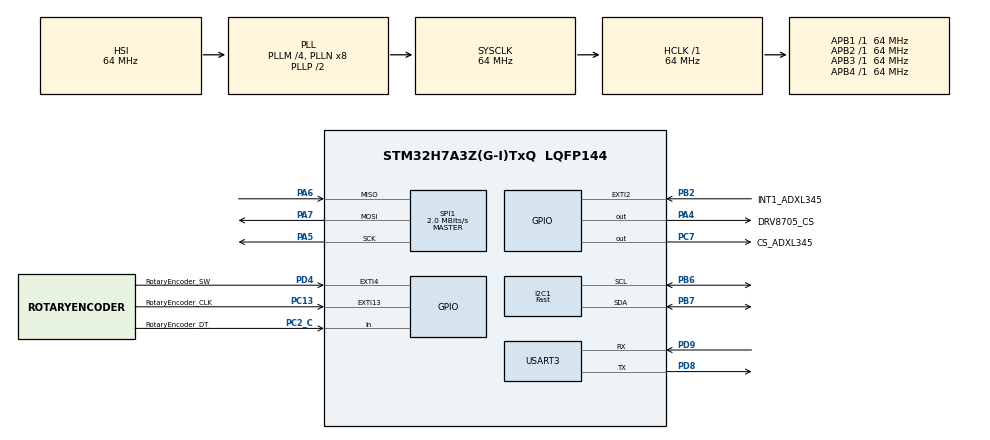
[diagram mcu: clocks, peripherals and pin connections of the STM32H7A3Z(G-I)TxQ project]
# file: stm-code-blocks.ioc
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CORTEX_M7.default_mode_Activation=1
I2C1.I2C_Speed_Mode=I2C_Fast
I2C1.OwnAddress=0x20
I2C1.Timing=0x00602173
Mcu.Family=STM32H7
Mcu.Name=STM32H7A3Z(G-I)TxQ
Mcu.Package=LQFP144
NVIC.EXTI15_10_IRQn=true\:0\:0\:false\:false\:true\:true\:true\:true
NVIC.EXTI4_IRQn=true\:0\:0\:false\:false\:true\:true\:true\:true
NVIC.PriorityGroup=NVIC_PRIORITYGROUP_4
NVIC.USART3_IRQn=true\:0\:0\:false\:false\:true\:true\:true\:true
PA4.GPIO_Label=DRV8705_CS
PA4.Signal=GPIO_Output
PA5.Mode=Full_Duplex_Master
PA5.Signal=SPI1_SCK
PA6.Mode=Full_Duplex_Master
PA6.Signal=SPI1_MISO
PA7.Mode=Full_Duplex_Master
PA7.Signal=SPI1_MOSI
PB2.GPIO_Label=INT1_ADXL345
PB2.Signal=GPXTI2
PB6.Mode=I2C
PB6.Signal=I2C1_SCL
PB7.Mode=I2C
PB7.Signal=I2C1_SDA
PC13.GPIO_Label=RotaryEncoder_CLK
PC13.GPIO_ModeDefaultEXTI=GPIO_MODE_IT_FALLING
PC13.GPIO_PuPd=GPIO_NOPULL
PC13.Signal=GPXTI13
PC2_C.GPIO_Label=RotaryEncoder_DT
PC2_C.Signal=GPIO_Input
PC7.GPIO_Label=CS_ADXL345
PC7.Signal=GPIO_Output
PD4.GPIO_Label=RotaryEncoder_SW
PD4.GPIO_ModeDefaultEXTI=GPIO_MODE_IT_FALLING
PD4.GPIO_PuPd=GPIO_PULLUP
PD4.Signal=GPXTI4
PD8.Mode=Asynchronous
PD8.Signal=USART3_TX
PD9.Mode=Asynchronous
PD9.Signal=USART3_RX
ProjectManager.HeapSize=0x200
ProjectManager.StackSize=0x400
ProjectManager.TargetToolchain=STM32CubeIDE
RCC.ADCFreq_Value=129000000
RCC.APB1Freq_Value=64000000
RCC.APB2Freq_Value=64000000
RCC.APB3Freq_Value=64000000
RCC.APB4Freq_Value=64000000
RCC.CortexFreq_Value=64000000
RCC.DIVM1=4
RCC.DIVM3=1
RCC.DIVN1=8
RCC.DIVN3=24
RCC.DIVQ1=32
RCC.HCLKFreq_Value=64000000
RCC.HSE_VALUE=8000000
RCC.PLLFRACN=0
RCC.PWR_Regulator_Voltage_Scale=PWR_REGULATOR_VOLTAGE_SCALE0
RCC.SYSCLKFreq_VALUE=64000000
RCC.SYSCLKSource=RCC_SYSCLKSOURCE_PLLCLK
RCC.SupplySource=PWR_DIRECT_SMPS_SUPPLY
RCC.USBCLockSelection=RCC_USBCLKSOURCE_HSI48
RCC.USBFreq_Value=48000000
SPI1.CalculateBaudRate=2.0 MBits/s
SPI1.DataSize=SPI_DATASIZE_8BIT
SPI1.Direction=SPI_DIRECTION_2LINES
SPI1.Mode=SPI_MODE_MASTER
SPI1.VirtualType=VM_MASTER
TIM2.AutoReloadPreload=TIM_AUTORELOAD_PRELOAD_DISABLE
TIM2.Channel-Output\ Compare1\ No\ Output=TIM_CHANNEL_1
TIM2.Period=0xFFFFFFFF
TIM2.Prescaler=63
USART3.VirtualMode-Asynchronous=VM_ASYNC
VP_MEMORYMAP_VS_MEMORYMAP.Mode=CurAppReg
VP_TIM2_VS_ClockSourceINT.Mode=Internal
VP_TIM2_VS_no_output1.Mode=Output Compare1 No Output
board=NUCLEO-H7A3ZI-Q

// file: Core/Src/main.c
/* USER CODE BEGIN Header */
/**
  ******************************************************************************
  * @file           : main.c
  * @brief          : Main program body
  ******************************************************************************
  * @attention
  *
  * Copyright (c) 2025 STMicroelectronics.
  * All rights reserved.
  *
  * This software is licensed under terms that can be found in the LICENSE file
  * in the root directory of this software component.
  * If no LICENSE file comes with this software, it is provided AS-IS.
  *
  ******************************************************************************
  */
/* USER CODE END Header */
#include <receive_serial_commands.h>
#include <serial_print.h>
#include "main.h"

/* USER CODE BEGIN Includes */
#include "adxl345_registers.h"
#include "us_timer.h"
#include <stdio.h>
#include <string.h>
#include <stdbool.h>
/* USER CODE END Includes */

I2C_HandleTypeDef hi2c1;

SPI_HandleTypeDef hspi1;

TIM_HandleTypeDef htim2;

UART_HandleTypeDef huart3;

void SystemClock_Config(void);
static void MPU_Config(void);
static void MX_GPIO_Init(void);
static void MX_SPI1_Init(void);
static void MX_I2C1_Init(void);
static void MX_USART3_UART_Init(void);
static void MX_TIM2_Init(void);

int main(void)
{

  /* MPU Configuration--------------------------------------------------------*/
  MPU_Config();

  /* MCU Configuration--------------------------------------------------------*/

  /* Reset of all peripherals, Initializes the Flash interface and the Systick. */
  HAL_Init();

  /* Configure the system clock */
  SystemClock_Config();

  /* Initialize all configured peripherals */
  MX_GPIO_Init();
  MX_SPI1_Init();
  MX_I2C1_Init();
  MX_USART3_UART_Init();
  MX_TIM2_Init();
  /* USER CODE BEGIN 2 */
  SerialPrintLn(&huart3, "Ready.");
  HAL_TIM_Base_Start(&htim2);
  HAL_UART_Receive_IT(&huart3, command_buff, 1);
  /* USER CODE END 2 */

  /* Infinite loop */
  while (1)
  {

  }
}

void SystemClock_Config(void)
{
  RCC_OscInitTypeDef RCC_OscInitStruct = {0};
  RCC_ClkInitTypeDef RCC_ClkInitStruct = {0};

  /*AXI clock gating */
  RCC->CKGAENR = 0xE003FFFF;

  /** Supply configuration update enable
  */
  HAL_PWREx_ConfigSupply(PWR_DIRECT_SMPS_SUPPLY);

  /** Configure the main internal regulator output voltage
  */
  __HAL_PWR_VOLTAGESCALING_CONFIG(PWR_REGULATOR_VOLTAGE_SCALE0);

  while(!__HAL_PWR_GET_FLAG(PWR_FLAG_VOSRDY)) {}

  /** Initializes the RCC Oscillators according to the specified parameters
  * in the RCC_OscInitTypeDef structure.
  */
  RCC_OscInitStruct.OscillatorType = RCC_OSCILLATORTYPE_HSI;
  RCC_OscInitStruct.HSIState = RCC_HSI_DIV1;
  RCC_OscInitStruct.HSICalibrationValue = 64;
  RCC_OscInitStruct.PLL.PLLState = RCC_PLL_ON;
  RCC_OscInitStruct.PLL.PLLSource = RCC_PLLSOURCE_HSI;
  RCC_OscInitStruct.PLL.PLLM = 4;
  RCC_OscInitStruct.PLL.PLLN = 8;
  RCC_OscInitStruct.PLL.PLLP = 2;
  RCC_OscInitStruct.PLL.PLLQ = 32;
  RCC_OscInitStruct.PLL.PLLR = 2;
  RCC_OscInitStruct.PLL.PLLRGE = RCC_PLL1VCIRANGE_3;
  RCC_OscInitStruct.PLL.PLLVCOSEL = RCC_PLL1VCOWIDE;
  RCC_OscInitStruct.PLL.PLLFRACN = 0;
  if (HAL_RCC_OscConfig(&RCC_OscInitStruct) != HAL_OK)
  {
    Error_Handler();
  }

  /** Initializes the CPU, AHB and APB buses clocks
  */
  RCC_ClkInitStruct.ClockType = RCC_CLOCKTYPE_HCLK|RCC_CLOCKTYPE_SYSCLK
                              |RCC_CLOCKTYPE_PCLK1|RCC_CLOCKTYPE_PCLK2
                              |RCC_CLOCKTYPE_D3PCLK1|RCC_CLOCKTYPE_D1PCLK1;
  RCC_ClkInitStruct.SYSCLKSource = RCC_SYSCLKSOURCE_PLLCLK;
  RCC_ClkInitStruct.SYSCLKDivider = RCC_SYSCLK_DIV1;
  RCC_ClkInitStruct.AHBCLKDivider = RCC_HCLK_DIV1;
  RCC_ClkInitStruct.APB3CLKDivider = RCC_APB3_DIV1;
  RCC_ClkInitStruct.APB1CLKDivider = RCC_APB1_DIV1;
  RCC_ClkInitStruct.APB2CLKDivider = RCC_APB2_DIV1;
  RCC_ClkInitStruct.APB4CLKDivider = RCC_APB4_DIV1;

  if (HAL_RCC_ClockConfig(&RCC_ClkInitStruct, FLASH_LATENCY_1) != HAL_OK)
  {
    Error_Handler();
  }
}

static void MX_I2C1_Init(void)
{

  hi2c1.Instance = I2C1;
  hi2c1.Init.Timing = 0x00602173;
  hi2c1.Init.OwnAddress1 = 64;
  hi2c1.Init.AddressingMode = I2C_ADDRESSINGMODE_7BIT;
  hi2c1.Init.DualAddressMode = I2C_DUALADDRESS_DISABLE;
  hi2c1.Init.OwnAddress2 = 0;
  hi2c1.Init.OwnAddress2Masks = I2C_OA2_NOMASK;
  hi2c1.Init.GeneralCallMode = I2C_GENERALCALL_DISABLE;
  hi2c1.Init.NoStretchMode = I2C_NOSTRETCH_DISABLE;
  if (HAL_I2C_Init(&hi2c1) != HAL_OK)
  {
    Error_Handler();
  }

  /** Configure Analogue filter
  */
  if (HAL_I2CEx_ConfigAnalogFilter(&hi2c1, I2C_ANALOGFILTER_ENABLE) != HAL_OK)
  {
    Error_Handler();
  }

  /** Configure Digital filter
  */
  if (HAL_I2CEx_ConfigDigitalFilter(&hi2c1, 0) != HAL_OK)
  {
    Error_Handler();
  }

}

static void MX_SPI1_Init(void)
{

  /* SPI1 parameter configuration*/
  hspi1.Instance = SPI1;
  hspi1.Init.Mode = SPI_MODE_MASTER;
  hspi1.Init.Direction = SPI_DIRECTION_2LINES;
  hspi1.Init.DataSize = SPI_DATASIZE_8BIT;
  hspi1.Init.CLKPolarity = SPI_POLARITY_LOW;
  hspi1.Init.CLKPhase = SPI_PHASE_1EDGE;
  hspi1.Init.NSS = SPI_NSS_SOFT;
  hspi1.Init.BaudRatePrescaler = SPI_BAUDRATEPRESCALER_2;
  hspi1.Init.FirstBit = SPI_FIRSTBIT_MSB;
  hspi1.Init.TIMode = SPI_TIMODE_DISABLE;
  hspi1.Init.CRCCalculation = SPI_CRCCALCULATION_DISABLE;
  hspi1.Init.CRCPolynomial = 0x0;
  hspi1.Init.NSSPMode = SPI_NSS_PULSE_ENABLE;
  hspi1.Init.NSSPolarity = SPI_NSS_POLARITY_LOW;
  hspi1.Init.FifoThreshold = SPI_FIFO_THRESHOLD_01DATA;
  hspi1.Init.TxCRCInitializationPattern = SPI_CRC_INITIALIZATION_ALL_ZERO_PATTERN;
  hspi1.Init.RxCRCInitializationPattern = SPI_CRC_INITIALIZATION_ALL_ZERO_PATTERN;
  hspi1.Init.MasterSSIdleness = SPI_MASTER_SS_IDLENESS_00CYCLE;
  hspi1.Init.MasterInterDataIdleness = SPI_MASTER_INTERDATA_IDLENESS_00CYCLE;
  hspi1.Init.MasterReceiverAutoSusp = SPI_MASTER_RX_AUTOSUSP_DISABLE;
  hspi1.Init.MasterKeepIOState = SPI_MASTER_KEEP_IO_STATE_DISABLE;
  hspi1.Init.IOSwap = SPI_IO_SWAP_DISABLE;
  if (HAL_SPI_Init(&hspi1) != HAL_OK)
  {
    Error_Handler();
  }

}

static void MX_TIM2_Init(void)
{

  TIM_ClockConfigTypeDef sClockSourceConfig = {0};
  TIM_MasterConfigTypeDef sMasterConfig = {0};
  TIM_OC_InitTypeDef sConfigOC = {0};

  htim2.Instance = TIM2;
  htim2.Init.Prescaler = 63;
  htim2.Init.CounterMode = TIM_COUNTERMODE_UP;
  htim2.Init.Period = 0xFFFFFFFF;
  htim2.Init.ClockDivision = TIM_CLOCKDIVISION_DIV1;
  htim2.Init.AutoReloadPreload = TIM_AUTORELOAD_PRELOAD_DISABLE;
  if (HAL_TIM_Base_Init(&htim2) != HAL_OK)
  {
    Error_Handler();
  }
  sClockSourceConfig.ClockSource = TIM_CLOCKSOURCE_INTERNAL;
  if (HAL_TIM_ConfigClockSource(&htim2, &sClockSourceConfig) != HAL_OK)
  {
    Error_Handler();
  }
  if (HAL_TIM_OC_Init(&htim2) != HAL_OK)
  {
    Error_Handler();
  }
  sMasterConfig.MasterOutputTrigger = TIM_TRGO_RESET;
  sMasterConfig.MasterSlaveMode = TIM_MASTERSLAVEMODE_DISABLE;
  if (HAL_TIMEx_MasterConfigSynchronization(&htim2, &sMasterConfig) != HAL_OK)
  {
    Error_Handler();
  }
  sConfigOC.OCMode = TIM_OCMODE_TIMING;
  sConfigOC.Pulse = 0;
  sConfigOC.OCPolarity = TIM_OCPOLARITY_HIGH;
  sConfigOC.OCFastMode = TIM_OCFAST_DISABLE;
  if (HAL_TIM_OC_ConfigChannel(&htim2, &sConfigOC, TIM_CHANNEL_1) != HAL_OK)
  {
    Error_Handler();
  }

}

static void MX_USART3_UART_Init(void)
{

  huart3.Instance = USART3;
  huart3.Init.BaudRate = 115200;
  huart3.Init.WordLength = UART_WORDLENGTH_8B;
  huart3.Init.StopBits = UART_STOPBITS_1;
  huart3.Init.Parity = UART_PARITY_NONE;
  huart3.Init.Mode = UART_MODE_TX_RX;
  huart3.Init.HwFlowCtl = UART_HWCONTROL_NONE;
  huart3.Init.OverSampling = UART_OVERSAMPLING_16;
  huart3.Init.OneBitSampling = UART_ONE_BIT_SAMPLE_DISABLE;
  huart3.Init.ClockPrescaler = UART_PRESCALER_DIV1;
  huart3.AdvancedInit.AdvFeatureInit = UART_ADVFEATURE_NO_INIT;
  if (HAL_UART_Init(&huart3) != HAL_OK)
  {
    Error_Handler();
  }
  if (HAL_UARTEx_SetTxFifoThreshold(&huart3, UART_TXFIFO_THRESHOLD_1_8) != HAL_OK)
  {
    Error_Handler();
  }
  if (HAL_UARTEx_SetRxFifoThreshold(&huart3, UART_RXFIFO_THRESHOLD_1_8) != HAL_OK)
  {
    Error_Handler();
  }
  if (HAL_UARTEx_DisableFifoMode(&huart3) != HAL_OK)
  {
    Error_Handler();
  }

}

static void MX_GPIO_Init(void)
{
  GPIO_InitTypeDef GPIO_InitStruct = {0};

  /* GPIO Ports Clock Enable */
  __HAL_RCC_GPIOC_CLK_ENABLE();
  __HAL_RCC_GPIOA_CLK_ENABLE();
  __HAL_RCC_GPIOB_CLK_ENABLE();
  __HAL_RCC_GPIOD_CLK_ENABLE();

  /*Configure GPIO pin Output Level */
  HAL_GPIO_WritePin(DRV8705_CS_GPIO_Port, DRV8705_CS_Pin, GPIO_PIN_RESET);

  /*Configure GPIO pin Output Level */
  HAL_GPIO_WritePin(CS_ADXL345_GPIO_Port, CS_ADXL345_Pin, GPIO_PIN_RESET);

  /*Configure GPIO pin : RotaryEncoder_CLK_Pin */
  GPIO_InitStruct.Pin = RotaryEncoder_CLK_Pin;
  GPIO_InitStruct.Mode = GPIO_MODE_IT_FALLING;
  GPIO_InitStruct.Pull = GPIO_NOPULL;
  HAL_GPIO_Init(RotaryEncoder_CLK_GPIO_Port, &GPIO_InitStruct);

  /*Configure GPIO pin : RotaryEncoder_DT_Pin */
  GPIO_InitStruct.Pin = RotaryEncoder_DT_Pin;
  GPIO_InitStruct.Mode = GPIO_MODE_INPUT;
  GPIO_InitStruct.Pull = GPIO_NOPULL;
  HAL_GPIO_Init(RotaryEncoder_DT_GPIO_Port, &GPIO_InitStruct);

  /*Configure GPIO pin : DRV8705_CS_Pin */
  GPIO_InitStruct.Pin = DRV8705_CS_Pin;
  GPIO_InitStruct.Mode = GPIO_MODE_OUTPUT_PP;
  GPIO_InitStruct.Pull = GPIO_NOPULL;
  GPIO_InitStruct.Speed = GPIO_SPEED_FREQ_LOW;
  HAL_GPIO_Init(DRV8705_CS_GPIO_Port, &GPIO_InitStruct);

  /*Configure GPIO pin : INT1_ADXL345_Pin */
  GPIO_InitStruct.Pin = INT1_ADXL345_Pin;
  GPIO_InitStruct.Mode = GPIO_MODE_IT_RISING;
  GPIO_InitStruct.Pull = GPIO_NOPULL;
  HAL_GPIO_Init(INT1_ADXL345_GPIO_Port, &GPIO_InitStruct);

  /*Configure GPIO pin : CS_ADXL345_Pin */
  GPIO_InitStruct.Pin = CS_ADXL345_Pin;
  GPIO_InitStruct.Mode = GPIO_MODE_OUTPUT_PP;
  GPIO_InitStruct.Pull = GPIO_NOPULL;
  GPIO_InitStruct.Speed = GPIO_SPEED_FREQ_LOW;
  HAL_GPIO_Init(CS_ADXL345_GPIO_Port, &GPIO_InitStruct);

  /*Configure GPIO pin : RotaryEncoder_SW_Pin */
  GPIO_InitStruct.Pin = RotaryEncoder_SW_Pin;
  GPIO_InitStruct.Mode = GPIO_MODE_IT_FALLING;
  GPIO_InitStruct.Pull = GPIO_PULLUP;
  HAL_GPIO_Init(RotaryEncoder_SW_GPIO_Port, &GPIO_InitStruct);

  /* EXTI interrupt init*/
  HAL_NVIC_SetPriority(RotaryEncoder_SW_EXTI_IRQn, 0, 0);
  HAL_NVIC_EnableIRQ(RotaryEncoder_SW_EXTI_IRQn);

  HAL_NVIC_SetPriority(RotaryEncoder_CLK_EXTI_IRQn, 0, 0);
  HAL_NVIC_EnableIRQ(RotaryEncoder_CLK_EXTI_IRQn);

}

/* USER CODE BEGIN 4 */
void HAL_GPIO_EXTI_Callback(uint16_t GPIO_Pin) {
#define DEBOUNCE_DELAY_MS 5
    static int counter;
    static bool direction = true; // true = CW (clockwise), false = CCW (counter-clockwise)
    static uint32_t last_interrupt_time = 0;

    // Check if the interrupt is from the RotaryEncoder_CLK pin
    if (GPIO_Pin == RotaryEncoder_CLK_Pin) {
        uint32_t current_time = HAL_GetTick();

        // Simple debounce check
        if ((current_time - last_interrupt_time) < DEBOUNCE_DELAY_MS) {
            return;
        }
        last_interrupt_time = current_time;

        bool CLK = HAL_GPIO_ReadPin(RotaryEncoder_CLK_GPIO_Port, RotaryEncoder_CLK_Pin);
        bool DT = HAL_GPIO_ReadPin(RotaryEncoder_DT_GPIO_Port, RotaryEncoder_DT_Pin);
        // Determine direction based on DT relative to CLK
        if (DT != CLK) {
            counter++;
            direction = true;  // Clockwise
        } else {
            counter--;
            direction = false; // Counter-clockwise
        }
        SerialPrintLn(&huart3, "Debounced Counter: %+.3d | Direction: %s", counter, direction ? " CW" : "CCW");
    } else if (GPIO_Pin == RotaryEncoder_SW_Pin && HAL_GetTick() - last_interrupt_time > DEBOUNCE_DELAY_MS) {
    	last_interrupt_time = HAL_GetTick();
    	SerialPrintLn(&huart3, "Press detected!");
    }
}
/* USER CODE END 4 */

 /* MPU Configuration */

void MPU_Config(void)
{
  MPU_Region_InitTypeDef MPU_InitStruct = {0};

  /* Disables the MPU */
  HAL_MPU_Disable();

  /** Initializes and configures the Region and the memory to be protected
  */
  MPU_InitStruct.Enable = MPU_REGION_ENABLE;
  MPU_InitStruct.Number = MPU_REGION_NUMBER0;
  MPU_InitStruct.BaseAddress = 0x0;
  MPU_InitStruct.Size = MPU_REGION_SIZE_4GB;
  MPU_InitStruct.SubRegionDisable = 0x87;
  MPU_InitStruct.TypeExtField = MPU_TEX_LEVEL0;
  MPU_InitStruct.AccessPermission = MPU_REGION_NO_ACCESS;
  MPU_InitStruct.DisableExec = MPU_INSTRUCTION_ACCESS_DISABLE;
  MPU_InitStruct.IsShareable = MPU_ACCESS_SHAREABLE;
  MPU_InitStruct.IsCacheable = MPU_ACCESS_NOT_CACHEABLE;
  MPU_InitStruct.IsBufferable = MPU_ACCESS_NOT_BUFFERABLE;

  HAL_MPU_ConfigRegion(&MPU_InitStruct);
  /* Enables the MPU */
  HAL_MPU_Enable(MPU_PRIVILEGED_DEFAULT);

}

void Error_Handler(void)
{
  __disable_irq();
  while (1)
  {
  }
}
